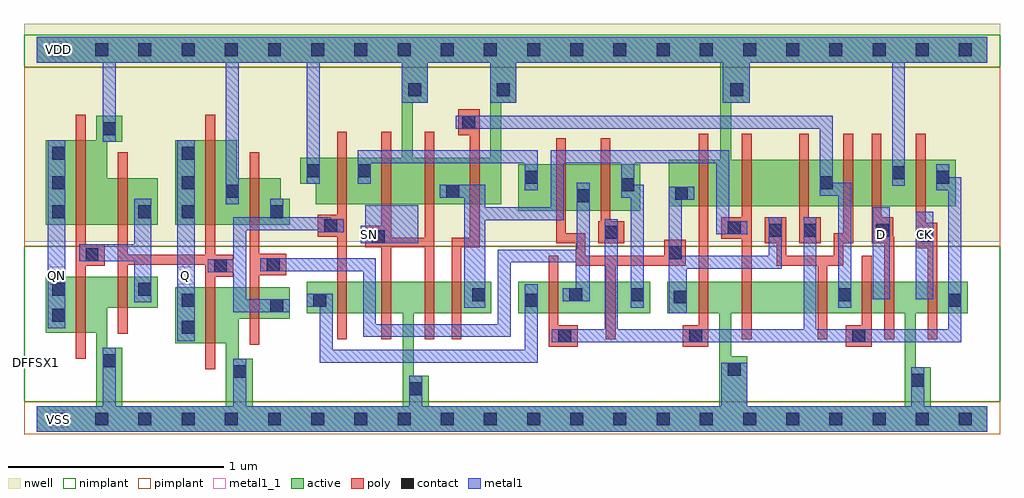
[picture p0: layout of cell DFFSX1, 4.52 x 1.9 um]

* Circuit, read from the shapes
.subckt DFFSX1 CK D Q QN SN VDD VSS
M1 VSS n1 QN VSS nfet w=0.26u l=0.045u
M2 n1 n2 VSS VSS nfet w=0.145u l=0.045u
M3 VSS n2 Q VSS nfet w=0.26u l=0.045u
M4 n2 n3 VSS VSS nfet w=0.145u l=0.045u
M5 n4 n2 n5 VSS nfet w=0.145u l=0.045u
M6 VSS SN n4 VSS nfet w=0.145u l=0.045u
M7 n6 SN VSS VSS nfet w=0.145u l=0.045u
M8 n7 n8 n6 VSS nfet w=0.145u l=0.045u
M9 n3 n9 n5 VSS nfet w=0.145u l=0.045u
M10 n7 n10 n3 VSS nfet w=0.145u l=0.045u
M11 VSS n9 n10 VSS nfet w=0.145u l=0.045u
M12 n11 n7 VSS VSS nfet w=0.145u l=0.045u
M13 n8 n10 n11 VSS nfet w=0.145u l=0.045u
M14 n12 n9 n8 VSS nfet w=0.145u l=0.045u
M15 VSS D n12 VSS nfet w=0.145u l=0.045u
M16 n9 CK VSS VSS nfet w=0.145u l=0.045u
M17 VDD n1 QN VDD pfet w=0.39u l=0.045u
M18 n1 n2 VDD VDD pfet w=0.215u l=0.045u
M19 VDD n2 Q VDD pfet w=0.39u l=0.045u
M20 n2 n3 VDD VDD pfet w=0.215u l=0.045u
M21 n13 n2 VDD VDD pfet w=0.215u l=0.045u
M22 VDD SN n13 VDD pfet w=0.215u l=0.045u
M23 n7 SN VDD VDD pfet w=0.215u l=0.045u
M24 VDD n8 n7 VDD pfet w=0.215u l=0.045u
M25 n3 n10 n13 VDD pfet w=0.215u l=0.045u
M26 n7 n9 n3 VDD pfet w=0.215u l=0.045u
M27 VDD n9 n10 VDD pfet w=0.215u l=0.045u
M28 n14 n7 VDD VDD pfet w=0.215u l=0.045u
M29 n8 n9 n14 VDD pfet w=0.215u l=0.045u
M30 n15 n10 n8 VDD pfet w=0.215u l=0.045u
M31 VDD D n15 VDD pfet w=0.215u l=0.045u
M32 n9 CK VDD VDD pfet w=0.215u l=0.045u
.ends

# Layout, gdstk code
import gdstk
lib = gdstk.Library(unit=1e-6, precision=5e-10)
def R(c, l, rs):  # rectangles x0, y0, x1, y1
    for r in rs: c.add(gdstk.rectangle(r[:2], r[2:], *l))
def A(c, l, x, y, w, h, nx, ny, dx, dy):  # array of equal rectangles
    R(c, l, [(x+i*dx, y+j*dy, x+i*dx+w, y+j*dy+h) for i in range(nx) for j in range(ny)])
def P(c, l, *ps):  # polygons
    for p in ps: c.add(gdstk.Polygon(p, *l))
active = (1, 0)
nwell = (2, 0)
poly = (3, 0)
nimplant = (4, 0)
pimplant = (5, 0)
contact = (6, 0)
metal1 = (7, 0)
metal1_1 = (7, 1)

dffsx1 = lib.new_cell('DFFSX1')
R(dffsx1, active, [(2.23,0.49,2.84,0.635), (2.23,0.965,2.795,1.18), (0,1.65,4.4,1.77)])
P(dffsx1, active, [(2.22,1.65),(2.1,1.65),(2.1,1.21),(1.74,1.21),(1.74,1.465),(1.81,1.465),(1.81,1.65),(1.69,1.65),(1.69,1.21),(1.22,1.21),(1.22,1.09),(1.29,1.09),(1.29,0.995),(2.15,0.995),(2.15,1.465),(2.22,1.465)],
  [(4.255,1.2),(3.215,1.2),(3.215,1.465),(3.3,1.465),(3.3,1.65),(3.165,1.65),(3.165,1.2),(2.925,1.2),(2.925,0.985),(4.255,0.985)],
  [(0.275,1.405),(0.395,1.405),(0.395,1.285),(0.325,1.285),(0.325,1.115),(0.56,1.115),(0.56,0.9),(0.04,0.9),(0.04,1.29),(0.275,1.29)],
  [(0.64,1.29),(0.925,1.29),(0.925,1.115),(1.13,1.115),(1.13,1.02),(1.17,1.02),(1.17,0.9),(0.64,0.9)],
  [(0.04,0.66),(0.56,0.66),(0.56,0.515),(0.325,0.515),(0.325,0.33),(0.395,0.33),(0.395,0.06),(0.875,0.06),(0.875,0.35),(0.64,0.35),(0.64,0.61),(1.17,0.61),(1.17,0.465),(0.935,0.465),(0.935,0.28),(1,0.28),(1,0.06),(1.695,0.06),(1.695,0.49),(1.25,0.49),(1.25,0.635),(2.105,0.635),(2.105,0.49),(1.745,0.49),(1.745,0.2),(1.815,0.2),(1.815,0.06),(3.16,0.06),(3.16,0.49),(3.215,0.49),(3.215,0.29),(3.29,0.29),(3.29,0.06),(4.02,0.06),(4.02,0.49),(2.92,0.49),(2.92,0.635),(4.31,0.635),(4.31,0.49),(4.07,0.49),(4.07,0.24),(4.14,0.24),(4.14,0.06),(4.4,0.06),(4.4,-0.06),(0,-0.06),(0,0.06),(0.275,0.06),(0.275,0.4),(0.04,0.4)])
R(dffsx1, nwell, [(-0.06,0.82,4.46,1.83)])
P(dffsx1, poly, [(0.18,1.41),(0.225,1.41),(0.225,0.81),(0.315,0.81),(0.315,0.71),(0.225,0.71),(0.225,0.28),(0.18,0.28)],
  [(0.375,1.235),(0.42,1.235),(0.42,0.76),(0.78,0.76),(0.78,1.41),(0.825,1.41),(0.825,0.76),(0.91,0.76),(0.91,0.66),(0.825,0.66),(0.825,0.23),(0.78,0.23),(0.78,0.715),(0.42,0.715),(0.42,0.395),(0.375,0.395)],
  [(0.985,1.235),(1.03,1.235),(1.03,0.765),(1.155,0.765),(1.155,0.665),(1.03,0.665),(1.03,0.345),(0.985,0.345)],
  [(1.39,1.33),(1.435,1.33),(1.435,0.37),(1.39,0.37),(1.39,0.845),(1.3,0.845),(1.3,0.945),(1.39,0.945)],
  [(1.595,1.33),(1.64,1.33),(1.64,0.84),(1.795,0.84),(1.795,1.33),(1.84,1.33),(1.84,0.37),(1.795,0.37),(1.795,0.795),(1.64,0.795),(1.64,0.37),(1.595,0.37),(1.595,0.795),(1.52,0.795),(1.52,0.895),(1.595,0.895)],
  [(1.95,1.435),(2.05,1.435),(2.05,0.795),(1.965,0.795),(1.965,0.37),(1.92,0.37),(1.92,0.84),(2.005,0.84),(2.005,1.315),(1.95,1.315)],
  [(2.405,1.3),(2.45,1.3),(2.45,0.86),(2.54,0.86),(2.54,0.755),(2.905,0.755),(2.905,0.83),(3.005,0.83),(3.005,0.71),(2.68,0.71),(2.68,0.37),(2.635,0.37),(2.635,0.71),(2.495,0.71),(2.495,0.815),(2.405,0.815)],
  [(2.61,1.3),(2.655,1.3),(2.655,0.915),(2.72,0.915),(2.72,0.815),(2.6,0.815),(2.6,0.915),(2.61,0.915)],
  [(3.065,1.32),(3.11,1.32),(3.11,0.335),(2.99,0.335),(2.99,0.435),(3.065,0.435)],
  [(3.265,1.32),(3.31,1.32),(3.31,0.37),(3.265,0.37),(3.265,0.835),(3.17,0.835),(3.17,0.935),(3.265,0.935)],
  [(3.53,1.32),(3.575,1.32),(3.575,0.935),(3.63,0.935),(3.63,0.815),(3.53,0.815)],
  [(3.37,0.935),(3.47,0.935),(3.47,0.755),(3.69,0.755),(3.69,0.86),(3.735,0.86),(3.735,1.32),(3.78,1.32),(3.78,0.815),(3.735,0.815),(3.735,0.71),(3.66,0.71),(3.66,0.37),(3.615,0.37),(3.615,0.71),(3.425,0.71),(3.425,0.815),(3.37,0.815)],
  [(3.865,1.32),(3.91,1.32),(3.91,0.935),(3.965,0.935),(3.965,0.845),(3.97,0.845),(3.97,0.37),(3.925,0.37),(3.925,0.815),(3.865,0.815)],
  [(4.07,1.32),(4.115,1.32),(4.115,0.91),(4.17,0.91),(4.17,0.37),(4.125,0.37),(4.125,0.79),(4.07,0.79)],
  [(2.37,0.755),(2.415,0.755),(2.415,0.435),(2.505,0.435),(2.505,0.335),(2.37,0.335)],
  [(3.82,0.755),(3.865,0.755),(3.865,0.335),(3.745,0.335),(3.745,0.435),(3.82,0.435)])
R(dffsx1, nimplant, [(-0.06,0.08,4.46,0.8), (-0.06,1.63,4.46,1.78)])
R(dffsx1, pimplant, [(-0.06,-0.07,4.46,0.08), (-0.06,0.8,4.46,1.63)])
A(dffsx1, contact, 0.07, -0.03, 0.06, 0.06, 22, 2, 0.2, 1.71)
A(dffsx1, contact, 0.07, 0.93, 0.06, 0.06, 1, 3, 0, 0.135)
A(dffsx1, contact, 0.67, 0.93, 0.06, 0.06, 1, 3, 0, 0.135)
R(dffsx1, contact, [(1.725,0.11,1.785,0.17), (4.05,0.15,4.11,0.21), (0.91,0.19,0.97,0.25), (3.2,0.2,3.26,0.26), (0.305,0.24,0.365,0.3), (2.415,0.355,2.475,0.415), (3.02,0.355,3.08,0.415), (3.775,0.355,3.835,0.415), (0.67,0.395,0.73,0.455), (0.07,0.45,0.13,0.51), (1.08,0.495,1.14,0.555), (0.67,0.52,0.73,0.58), (1.28,0.52,1.34,0.58), (2.26,0.52,2.32,0.58), (4.22,0.52,4.28,0.58), (2.95,0.535,3.01,0.595), (2.015,0.545,2.075,0.605), (2.465,0.545,2.525,0.605), (2.75,0.545,2.81,0.605), (3.71,0.545,3.77,0.605), (0.07,0.57,0.13,0.63), (0.47,0.57,0.53,0.63), (0.82,0.68,0.88,0.74), (1.065,0.685,1.125,0.745), (0.225,0.73,0.285,0.79), (2.925,0.74,2.985,0.8), (1.55,0.815,1.61,0.875), (4.09,0.82,4.15,0.88), (2.63,0.835,2.69,0.895), (3.39,0.845,3.45,0.905), (3.55,0.845,3.61,0.905), (3.885,0.845,3.945,0.905), (3.2,0.855,3.26,0.915), (1.33,0.865,1.39,0.925), (0.47,0.93,0.53,0.99), (1.08,0.93,1.14,0.99), (2.5,1.005,2.56,1.065), (2.955,1.015,3.015,1.075), (0.875,1.025,0.935,1.085), (1.895,1.025,1.955,1.085), (2.705,1.055,2.765,1.115), (3.625,1.065,3.685,1.125), (2.26,1.09,2.32,1.15), (4.165,1.09,4.225,1.15), (3.96,1.11,4.02,1.17), (1.25,1.12,1.31,1.18), (1.485,1.12,1.545,1.18), (0.305,1.315,0.365,1.375), (1.97,1.345,2.03,1.405), (1.72,1.495,1.78,1.555), (2.13,1.495,2.19,1.555), (3.21,1.495,3.27,1.555)])
R(dffsx1, metal1, [(0.65,0.36,0.73,1.29), (0.05,0.42,0.13,1.29), (3.87,0.555,3.95,0.98), (4.07,0.555,4.15,0.96)])
P(dffsx1, metal1, [(4.4,0.06),(4.11,0.06),(4.11,0.24),(4.05,0.24),(4.05,0.06),(3.29,0.06),(3.29,0.26),(3.17,0.26),(3.17,0.06),(1.785,0.06),(1.785,0.2),(1.725,0.2),(1.725,0.06),(0.97,0.06),(0.97,0.28),(0.91,0.28),(0.91,0.06),(0.365,0.06),(0.365,0.33),(0.305,0.33),(0.305,0.06),(0,0.06),(0,-0.06),(4.4,-0.06)],
  [(4.4,1.77),(0,1.77),(0,1.65),(0.305,1.65),(0.305,1.285),(0.365,1.285),(0.365,1.65),(0.875,1.65),(0.875,0.995),(0.935,0.995),(0.935,1.65),(1.25,1.65),(1.25,1.09),(1.31,1.09),(1.31,1.65),(1.69,1.65),(1.69,1.465),(1.81,1.465),(1.81,1.65),(2.1,1.65),(2.1,1.465),(2.22,1.465),(2.22,1.65),(3.175,1.65),(3.175,1.465),(3.3,1.465),(3.3,1.65),(3.96,1.65),(3.96,1.08),(4.02,1.08),(4.02,1.65),(4.4,1.65)],
  [(4.28,1.12),(4.225,1.12),(4.225,1.18),(4.165,1.18),(4.165,1.06),(4.22,1.06),(4.22,0.415),(3.61,0.415),(3.61,0.935),(3.55,0.935),(3.55,0.415),(2.69,0.415),(2.69,0.925),(2.63,0.925),(2.63,0.415),(2.385,0.415),(2.385,0.355),(4.28,0.355)],
  [(3.77,1.095),(3.685,1.095),(3.685,1.405),(1.94,1.405),(1.94,1.345),(3.625,1.345),(3.625,1.035),(3.71,1.035),(3.71,0.515),(3.77,0.515)],
  [(3.45,0.935),(3.39,0.935),(3.39,0.755),(2.985,0.755),(2.985,1.015),(3.045,1.015),(3.045,1.075),(2.925,1.075),(2.925,0.49),(3.01,0.49),(3.01,0.695),(3.45,0.695)],
  [(3.29,0.915),(3.205,0.915),(3.205,1.245),(2.38,1.245),(2.38,0.98),(2.075,0.98),(2.075,1.085),(1.865,1.085),(1.865,1.025),(1.98,1.025),(1.98,0.515),(2.075,0.515),(2.075,0.92),(2.44,0.92),(2.44,1.185),(2.705,1.185),(2.705,1.025),(2.75,1.025),(2.75,0.515),(2.81,0.515),(2.81,1.085),(2.765,1.085),(2.765,1.185),(3.145,1.185),(3.145,0.855),(3.29,0.855)],
  [(2.56,1.095),(2.5,1.095),(2.5,0.785),(2.135,0.785),(2.135,0.44),(1.57,0.44),(1.57,0.745),(1.035,0.745),(1.035,0.685),(1.51,0.685),(1.51,0.38),(2.195,0.38),(2.195,0.725),(2.495,0.725),(2.495,0.605),(2.435,0.605),(2.435,0.545),(2.56,0.545)],
  [(2.32,0.625),(2.26,0.625),(2.26,0.32),(1.37,0.32),(1.37,0.58),(1.25,0.58),(1.25,0.52),(1.31,0.52),(1.31,0.26),(2.32,0.26)],
  [(2.32,1.245),(1.485,1.245),(1.485,1.09),(1.545,1.09),(1.545,1.185),(2.26,1.185),(2.26,1.06),(2.32,1.06)],
  [(1.765,0.99),(1.52,0.99),(1.52,0.895),(1.5,0.895),(1.5,0.815),(1.765,0.815)],
  [(1.42,0.925),(1.36,0.925),(1.36,0.935),(1.14,0.935),(1.14,1.02),(1.08,1.02),(1.08,0.935),(0.91,0.935),(0.91,0.74),(0.79,0.74),(0.79,0.68),(0.91,0.68),(0.91,0.495),(1.17,0.495),(1.17,0.555),(0.97,0.555),(0.97,0.875),(1.3,0.875),(1.3,0.865),(1.42,0.865)],
  [(0.53,1.02),(0.45,1.02),(0.45,0.81),(0.195,0.81),(0.195,0.73),(0.45,0.73),(0.45,0.54),(0.53,0.54)])
R(dffsx1, metal1_1, [(0.06,-0.04,0.14,0.04), (0.05,0.625,0.13,0.705), (0.65,0.625,0.73,0.705), (1.5,0.815,1.58,0.895), (3.87,0.815,3.95,0.895), (4.07,0.815,4.15,0.895), (0.06,1.67,0.14,1.75)])
dffsx1.add(gdstk.Label('Q', (0.69,0.665), layer=7, texttype=1))
dffsx1.add(gdstk.Label('QN', (0.09,0.665), layer=7, texttype=1))
dffsx1.add(gdstk.Label('CK', (4.11,0.855), layer=7, texttype=1))
dffsx1.add(gdstk.Label('D', (3.91,0.855), layer=7, texttype=1))
dffsx1.add(gdstk.Label('SN', (1.54,0.855), layer=7, texttype=1))
dffsx1.add(gdstk.Label('VDD', (0.1,1.71), layer=7, texttype=1))
dffsx1.add(gdstk.Label('VSS', (0.1,0), layer=7, texttype=1))
dffsx1.add(gdstk.Label('DFFSX1', (0,0.26), layer=63, texttype=0))

lib.write_gds('DFFSX1.gds')
